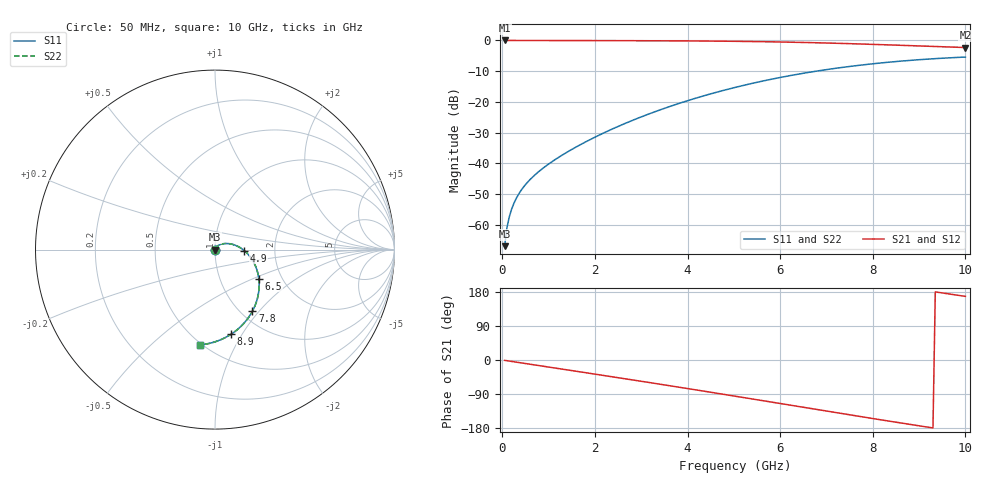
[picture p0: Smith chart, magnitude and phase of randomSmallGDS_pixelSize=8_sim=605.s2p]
! freq	dB(S11)	phase(S11)	dB(S12)	phase(S12)
!  dB(S21)	phase(S21)	dB(S22)	phase(S22)
!S-par simulation data
#  GHz  S  DB  R 50
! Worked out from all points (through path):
!   200 points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, 50 MHz to 10 GHz, reference 50 ohm
!   highest |S21| = 0.00 dB at 50 MHz (marker M1); lowest = -2.3 dB at 10 GHz (marker M2)
!   group delay of S21, straight-line fit = 53.9 ps
!   lowest |S11| = -67.0 dB at 50 MHz (marker M3), VSWR 1.00, Z = 50 + j0.0444 ohm
!   |S11| at or under -10 dB: start of sweep to 6.777 GHz
!   |S22| runs from -67.0 to -5.4 dB; largest |S21 - S12| = 0
!   S11 on the Smith chart (normalised r, x): 50 MHz: 1.00, +0.00; 4.9 GHz: 1.39, -0.02; 6.5 GHz: 1.53, -0.54; 7.8 GHz: 1.13, -0.92; 8.9 GHz: 0.73, -0.90; 10 GHz: 0.49, -0.73
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0.05  -66.97 82.6  -0.00 -0.9  -0.00 -0.9  -66.98 82.6
0.1  -60.99 84.5  -0.00 -1.9  -0.00 -1.9  -60.99 84.6
0.15  -57.48 84.5  -0.00 -2.8  -0.00 -2.8  -57.48 84.5
0.2  -54.98 83.9  -0.00 -3.8  -0.00 -3.8  -54.99 83.9
0.3  -51.46 82.3  -0.01 -5.6  -0.01 -5.6  -51.46 82.4
0.45  -47.89 79.8  -0.01 -8.4  -0.01 -8.4  -47.89 79.9
0.65  -44.53 76.6  -0.02 -12.1  -0.02 -12.1  -44.53 76.6
0.95  -40.78 71.8  -0.02 -17.7  -0.02 -17.7  -40.78 71.9
1.75  -33.42 58.3  -0.04 -32.6  -0.04 -32.6  -33.41 58.4
2.6  -27.34 42.6  -0.06 -48.5  -0.06 -48.5  -27.34 42.7
3.4  -22.63 27.3  -0.10 -63.7  -0.10 -63.7  -22.63 27.4
4.15  -18.92 12.8  -0.16 -78.2  -0.16 -78.2  -18.92 12.9
4.9  -15.77 -1.9  -0.26 -92.9  -0.26 -92.9  -15.77 -1.8
5.05  -15.20 -4.8  -0.28 -95.9  -0.28 -95.9  -15.20 -4.7
5.75  -12.81 -18.7  -0.43 -109.8  -0.43 -109.8  -12.81 -18.6
6.5  -10.68 -33.5  -0.64 -124.8  -0.64 -124.8  -10.68 -33.4
6.7  -10.18 -37.4  -0.71 -128.8  -0.71 -128.8  -10.18 -37.3
7.25  -8.96 -48.2  -0.93 -139.8  -0.93 -139.8  -8.96 -48.1
7.8  -7.92 -58.8  -1.17 -150.6  -1.17 -150.6  -7.92 -58.7
8.35  -7.07 -69.1  -1.45 -161.3  -1.45 -161.3  -7.07 -69.1
8.9  -6.38 -79.3  -1.73 -171.8  -1.73 -171.8  -6.37 -79.2
10  -5.41 -98.8  -2.31 167.8  -2.31 167.8  -5.41 -98.7
